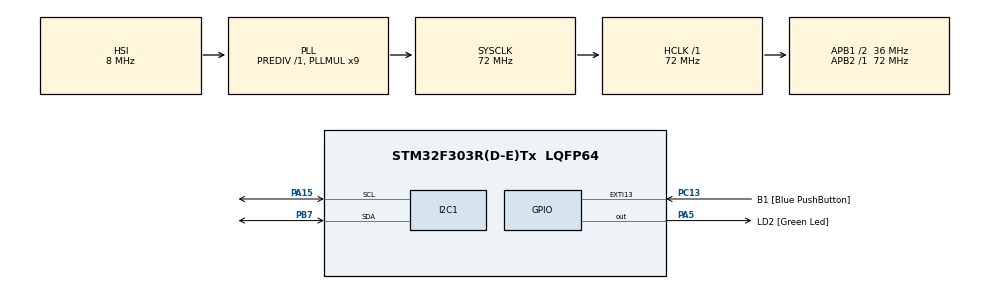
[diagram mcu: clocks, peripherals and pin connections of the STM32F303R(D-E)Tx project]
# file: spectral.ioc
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Mcu.Family=STM32F3
Mcu.Name=STM32F303R(D-E)Tx
Mcu.Package=LQFP64
NVIC.PriorityGroup=NVIC_PRIORITYGROUP_0
PA13.GPIO_Label=TMS
PA13.Signal=SYS_JTMS-SWDIO
PA14.GPIO_Label=TCK
PA14.Signal=SYS_JTCK-SWCLK
PA15.Mode=I2C
PA15.Signal=I2C1_SCL
PA2.GPIO_Label=USART_TX
PA2.GPIO_Mode=GPIO_MODE_AF_PP
PA2.GPIO_PuPd=GPIO_NOPULL
PA2.GPIO_Speed=GPIO_SPEED_FREQ_LOW
PA2.Signal=USART2_TX
PA3.GPIO_Label=USART_RX
PA3.GPIO_Mode=GPIO_MODE_AF_PP
PA3.GPIO_PuPd=GPIO_NOPULL
PA3.GPIO_Speed=GPIO_SPEED_FREQ_LOW
PA3.Signal=USART2_RX
PA5.GPIO_Label=LD2 [Green Led]
PA5.GPIO_Mode=GPIO_MODE_OUTPUT_PP
PA5.GPIO_PuPd=GPIO_NOPULL
PA5.GPIO_Speed=GPIO_SPEED_FREQ_LOW
PA5.Signal=GPIO_Output
PB3.GPIO_Label=SWO
PB3.Signal=SYS_JTDO-TRACESWO
PB7.Mode=I2C
PB7.Signal=I2C1_SDA
PC13.GPIO_Label=B1 [Blue PushButton]
PC13.GPIO_ModeDefaultEXTI=GPIO_MODE_IT_FALLING
PC13.Signal=GPXTI13
PC14-OSC32_IN.Signal=RCC_OSC32_IN
PC15-OSC32_OUT.Signal=RCC_OSC32_OUT
PF0-OSC_IN.Signal=RCC_OSC_IN
PF1-OSC_OUT.Signal=RCC_OSC_OUT
ProjectManager.HeapSize=0x200
ProjectManager.StackSize=0x400
ProjectManager.TargetToolchain=STM32CubeIDE
RCC.AHBFreq_Value=72000000
RCC.APB1CLKDivider=RCC_HCLK_DIV2
RCC.APB1Freq_Value=36000000
RCC.APB1TimFreq_Value=72000000
RCC.APB2Freq_Value=72000000
RCC.APB2TimFreq_Value=72000000
RCC.CortexFreq_Value=72000000
RCC.HCLKFreq_Value=72000000
RCC.HSE_VALUE=8000000
RCC.HSI_VALUE=8000000
RCC.LSE_VALUE=32768
RCC.PLLM=8
RCC.PLLMUL=RCC_PLL_MUL9
RCC.PLLN=336
RCC.PLLP=RCC_PLLP_DIV4
RCC.PLLQ=7
RCC.RCC_PLLsource_Clock_Source_FROM_HSE=RCC_HSE_PREDIV_DIV2
RCC.SYSCLKFreq_VALUE=72000000
RCC.SYSCLKSourceVirtual=RCC_SYSCLKSOURCE_PLLCLK
RCC.USBFreq_Value=72000000
board=NUCLEO-F303RE

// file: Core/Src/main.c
/* USER CODE BEGIN Header */
/**
  ******************************************************************************
  * @file           : main.c
  * @brief          : Main program body
  ******************************************************************************
  * @attention
  *
  * Copyright (c) 2022 STMicroelectronics.
  * All rights reserved.
  *
  * This software is licensed under terms that can be found in the LICENSE file
  * in the root directory of this software component.
  * If no LICENSE file comes with this software, it is provided AS-IS.
  *
  ******************************************************************************
  */
/* USER CODE END Header */
#include "main.h"

/* USER CODE BEGIN PD */

#define TODO 0

// Spectral Device - AS7263
// DATASHEET - https://cdn.sparkfun.com/assets/1/b/7/3/b/AS7263.pdf

// TODO - Find the I2C device address
// Hint - check page 18
#define I2C_DEV_ADDRESS ((uint8_t)0x49) // Read addy, write is 92

// TODO - Find the control set up register
// Hint - check page 21
#define CONTROL_SET_UP_REGISTER ((uint8_t)0x04)

// TODO - Find the int time register
// Hint - check page 21
#define INTEGRATION_TIME_REGISTER ((uint8_t)0x05)

// TODO - Find the write and read registers
// Hint - check page 18
#define CHANNEL_WRITE_REGISTER ((uint8_t)0x01)
#define CHANNEL_READ_REGISTER ((uint8_t)0x02)

// TODO - Find out what value to put into CHANNEL_WRITE_REGISTER
// if you want to read the MSB from channel 0, which we
// will call the start channel value.
// The start channel is channel R, and the available channels are RSTUVW.
// Hint - check page 21
#define START_CHANNEL_VAL ((uint8_t)0x08) // this is the high data byte, low is 0x09

/* USER CODE END PD */

I2C_HandleTypeDef hi2c1;

void SystemClock_Config(void);
static void MX_GPIO_Init(void);
static void MX_I2C1_Init(void);

/* USER CODE BEGIN 0 */

// TODO - Read through this function to see how to read a byte via I2C
uint8_t read_byte_data(uint8_t addr, char cmd) {

	uint8_t buf[30];
	HAL_StatusTypeDef ret;
	I2C_HandleTypeDef *i2c = &hi2c1;

	// First we need to initiate the transaction by having the Nucleo send a one byte message
	// that contains the command.
    buf[0] = cmd;
    ret = HAL_I2C_Master_Transmit(i2c, addr << 1, buf, 1, 1000);

    // After sending in the command, the Nucleo should read in the 1 byte response.
    ret = HAL_I2C_Master_Receive(i2c, addr << 1 | 1, buf, 1, 1000);

    if (ret != HAL_OK)
    {
    	HAL_I2C_DeInit(i2c);
    	HAL_Delay(5);
    	HAL_I2C_Init(i2c);
      return -1;
    }

    return buf[0];
}

// TODO - Read through this function to see how to write a byte via I2C
void write_byte_data(uint8_t addr, char cmd, uint8_t data) {
	uint8_t buf[30];
	HAL_StatusTypeDef ret;
	I2C_HandleTypeDef *i2c = &hi2c1;
    buf[0] = data;
    buf[1] = cmd;
    ret = HAL_I2C_Master_Transmit(i2c, addr << 1, buf, 2, 1000);

    if (ret != HAL_OK)
	{
		HAL_I2C_DeInit(i2c);
		HAL_Delay(5);
		HAL_I2C_Init(i2c);
		data = 0;
	}
}

uint8_t get_value(uint8_t channel_val) {
	write_byte_data(I2C_DEV_ADDRESS, CHANNEL_WRITE_REGISTER, channel_val);
	HAL_Delay(5); // Random delays just in case
	uint8_t value = read_byte_data(I2C_DEV_ADDRESS, CHANNEL_READ_REGISTER);
	HAL_Delay(5); // Random delays just in case
	return value;
}

// TODO - implement this function
float get_value_channel(uint8_t channel) {

	/*
	We do START_CHANNEL_VAL + i*2 or START_CHANNEL_VAL + i*2 + 1
	because the data sheet tells us that the values to read from
	the channels are set up like this.
	*/
	// Get the msb value
	uint8_t msb = get_value(START_CHANNEL_VAL + channel*2);
	// Get the lsb value
	uint8_t lsb = get_value(START_CHANNEL_VAL + channel*2 + 1);

	// Shift the msb to align it where it belongs
	uint16_t msb_shifted = msb << 8;

	// Combine the shifted msb with the lsb
	uint16_t value = msb_shifted | lsb;
	return value;
}

void initialize_spectral() {
	// TODO - Fill out the value to write to channel write register.
	// Make all bit values to the default as shown in the data sheet except
	// for gain, which should be set to 16x.
	const uint8_t channel_write_val = 0x28;
	write_byte_data(I2C_DEV_ADDRESS, CONTROL_SET_UP_REGISTER, channel_write_val);

	HAL_Delay(5); // Random delays just in case
	write_byte_data(I2C_DEV_ADDRESS, CONTROL_SET_UP_REGISTER, channel_write_val);

	// TODO - Fill out the value to write for integration time value.
	// Make the integration time as large as possible.
	const uint8_t integration_time_val = 0xFF;
	write_byte_data(I2C_DEV_ADDRESS, INTEGRATION_TIME_REGISTER, integration_time_val);
}

/* USER CODE END 0 */

int main(void)
{

  /* MCU Configuration--------------------------------------------------------*/

  /* Reset of all peripherals, Initializes the Flash interface and the Systick. */
  HAL_Init();

  /* Configure the system clock */
  SystemClock_Config();

  /* Initialize all configured peripherals */
  MX_GPIO_Init();
  MX_I2C1_Init();
  /* USER CODE BEGIN 2 */

  // This will store data for spectral data
  uint16_t spectral_channel_data[6];

  // Initialize the spectral
  initialize_spectral();

  /* USER CODE END 2 */

  /* Infinite loop */
  /* USER CODE BEGIN WHILE */
  while (1)
  {
	  // This will go through each of the six channels and get data
	  for (uint8_t i = 0; i < 6; ++i) {
		  spectral_channel_data[i] = get_value_channel(i);
	  }
    /* USER CODE END WHILE */

  }
}

void SystemClock_Config(void)
{
  RCC_OscInitTypeDef RCC_OscInitStruct = {0};
  RCC_ClkInitTypeDef RCC_ClkInitStruct = {0};
  RCC_PeriphCLKInitTypeDef PeriphClkInit = {0};

  /** Initializes the RCC Oscillators according to the specified parameters
  * in the RCC_OscInitTypeDef structure.
  */
  RCC_OscInitStruct.OscillatorType = RCC_OSCILLATORTYPE_HSI;
  RCC_OscInitStruct.HSIState = RCC_HSI_ON;
  RCC_OscInitStruct.HSICalibrationValue = RCC_HSICALIBRATION_DEFAULT;
  RCC_OscInitStruct.PLL.PLLState = RCC_PLL_ON;
  RCC_OscInitStruct.PLL.PLLSource = RCC_PLLSOURCE_HSI;
  RCC_OscInitStruct.PLL.PLLMUL = RCC_PLL_MUL9;
  RCC_OscInitStruct.PLL.PREDIV = RCC_PREDIV_DIV1;
  if (HAL_RCC_OscConfig(&RCC_OscInitStruct) != HAL_OK)
  {
    Error_Handler();
  }

  /** Initializes the CPU, AHB and APB buses clocks
  */
  RCC_ClkInitStruct.ClockType = RCC_CLOCKTYPE_HCLK|RCC_CLOCKTYPE_SYSCLK
                              |RCC_CLOCKTYPE_PCLK1|RCC_CLOCKTYPE_PCLK2;
  RCC_ClkInitStruct.SYSCLKSource = RCC_SYSCLKSOURCE_PLLCLK;
  RCC_ClkInitStruct.AHBCLKDivider = RCC_SYSCLK_DIV1;
  RCC_ClkInitStruct.APB1CLKDivider = RCC_HCLK_DIV2;
  RCC_ClkInitStruct.APB2CLKDivider = RCC_HCLK_DIV1;

  if (HAL_RCC_ClockConfig(&RCC_ClkInitStruct, FLASH_LATENCY_2) != HAL_OK)
  {
    Error_Handler();
  }
  PeriphClkInit.PeriphClockSelection = RCC_PERIPHCLK_I2C1;
  PeriphClkInit.I2c1ClockSelection = RCC_I2C1CLKSOURCE_HSI;
  if (HAL_RCCEx_PeriphCLKConfig(&PeriphClkInit) != HAL_OK)
  {
    Error_Handler();
  }
}

static void MX_I2C1_Init(void)
{

  hi2c1.Instance = I2C1;
  hi2c1.Init.Timing = 0x2000090E;
  hi2c1.Init.OwnAddress1 = 0;
  hi2c1.Init.AddressingMode = I2C_ADDRESSINGMODE_7BIT;
  hi2c1.Init.DualAddressMode = I2C_DUALADDRESS_DISABLE;
  hi2c1.Init.OwnAddress2 = 0;
  hi2c1.Init.OwnAddress2Masks = I2C_OA2_NOMASK;
  hi2c1.Init.GeneralCallMode = I2C_GENERALCALL_DISABLE;
  hi2c1.Init.NoStretchMode = I2C_NOSTRETCH_DISABLE;
  if (HAL_I2C_Init(&hi2c1) != HAL_OK)
  {
    Error_Handler();
  }

  /** Configure Analogue filter
  */
  if (HAL_I2CEx_ConfigAnalogFilter(&hi2c1, I2C_ANALOGFILTER_ENABLE) != HAL_OK)
  {
    Error_Handler();
  }

  /** Configure Digital filter
  */
  if (HAL_I2CEx_ConfigDigitalFilter(&hi2c1, 0) != HAL_OK)
  {
    Error_Handler();
  }

}

static void MX_GPIO_Init(void)
{
  GPIO_InitTypeDef GPIO_InitStruct = {0};

  /* GPIO Ports Clock Enable */
  __HAL_RCC_GPIOC_CLK_ENABLE();
  __HAL_RCC_GPIOF_CLK_ENABLE();
  __HAL_RCC_GPIOA_CLK_ENABLE();
  __HAL_RCC_GPIOB_CLK_ENABLE();

  /*Configure GPIO pin Output Level */
  HAL_GPIO_WritePin(LD2_GPIO_Port, LD2_Pin, GPIO_PIN_RESET);

  /*Configure GPIO pin : B1_Pin */
  GPIO_InitStruct.Pin = B1_Pin;
  GPIO_InitStruct.Mode = GPIO_MODE_IT_FALLING;
  GPIO_InitStruct.Pull = GPIO_NOPULL;
  HAL_GPIO_Init(B1_GPIO_Port, &GPIO_InitStruct);

  /*Configure GPIO pins : USART_TX_Pin USART_RX_Pin */
  GPIO_InitStruct.Pin = USART_TX_Pin|USART_RX_Pin;
  GPIO_InitStruct.Mode = GPIO_MODE_AF_PP;
  GPIO_InitStruct.Pull = GPIO_NOPULL;
  GPIO_InitStruct.Speed = GPIO_SPEED_FREQ_LOW;
  GPIO_InitStruct.Alternate = GPIO_AF7_USART2;
  HAL_GPIO_Init(GPIOA, &GPIO_InitStruct);

  /*Configure GPIO pin : LD2_Pin */
  GPIO_InitStruct.Pin = LD2_Pin;
  GPIO_InitStruct.Mode = GPIO_MODE_OUTPUT_PP;
  GPIO_InitStruct.Pull = GPIO_NOPULL;
  GPIO_InitStruct.Speed = GPIO_SPEED_FREQ_LOW;
  HAL_GPIO_Init(LD2_GPIO_Port, &GPIO_InitStruct);

}

void Error_Handler(void)
{
  __disable_irq();
  while (1)
  {
  }
}
